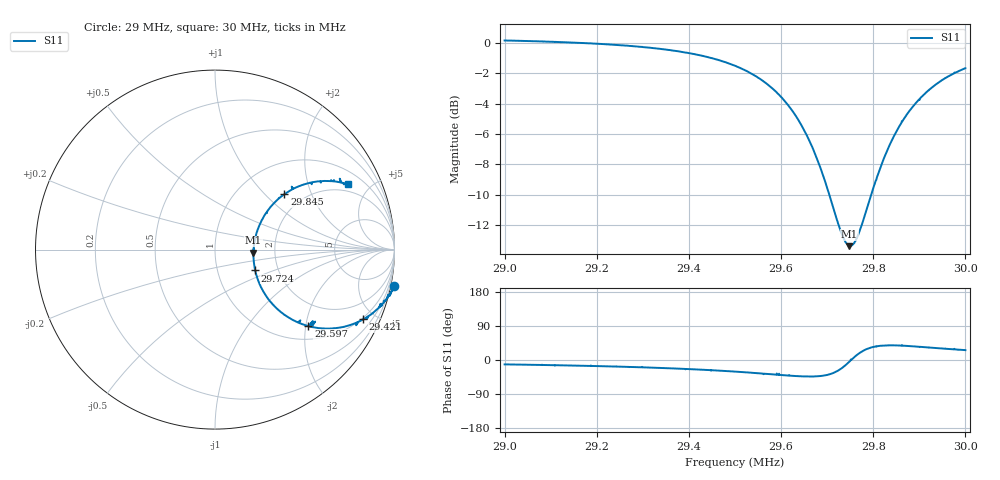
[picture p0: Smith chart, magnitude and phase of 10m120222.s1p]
# HZ S RI R 50
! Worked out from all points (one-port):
!   1010 points, 29 MHz to 30 MHz, reference 50 ohm
!   lowest |S11| = -13.4 dB at 29.748 MHz (marker M1), VSWR 1.54, Z = 77.1 - j2.67 ohm
!   |S11| at or under -10 dB: 29.70459 MHz to 29.79546 MHz (90.87 kHz wide, 0.305 % of centre)
!   S11 on the Smith chart (normalised r, x): 29 MHz: -0.95, -9.80; 29.421 MHz: 0.92, -4.29; 29.597 MHz: 1.33, -2.07; 29.724 MHz: 1.52, -0.38; 29.845 MHz: 1.60, +1.31; 30 MHz: 1.60, +3.66
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2.9e7  0.9989 -0.2041
2.912586e7  0.9761 -0.2455
2.925072e7  0.9375 -0.2977
2.930325e7  0.9131 -0.3236
2.937559e7  0.8664 -0.3628
2.942118e7  0.8258 -0.3886
2.94628e7  0.7784 -0.4112
2.950046e7  0.7234 -0.4291
2.955694e7  0.6153 -0.4406
2.959658e7  0.52 -0.4259
2.962532e7  0.4434 -0.3963
2.965109e7  0.3725 -0.3517
2.967289e7  0.3155 -0.2986
2.969965e7  0.2577 -0.2125
2.972442e7  0.2239 -0.1161
2.97373e7  0.2151 -0.0624
2.97482e7  0.2134 -0.0165
2.975019e7  0.2142 -0.00797
2.975712e7  0.2168 0.0212
2.976604e7  0.2235 0.0583
2.979181e7  0.258 0.159
2.981956e7  0.3189 0.2477
2.984532e7  0.3866 0.3091
2.987505e7  0.4692 0.3541
2.990676e7  0.5534 0.3772
2.992857e7  0.6061 0.3826
2.996523e7  0.6823 0.3772
2.999992e7  0.7417 0.3632
